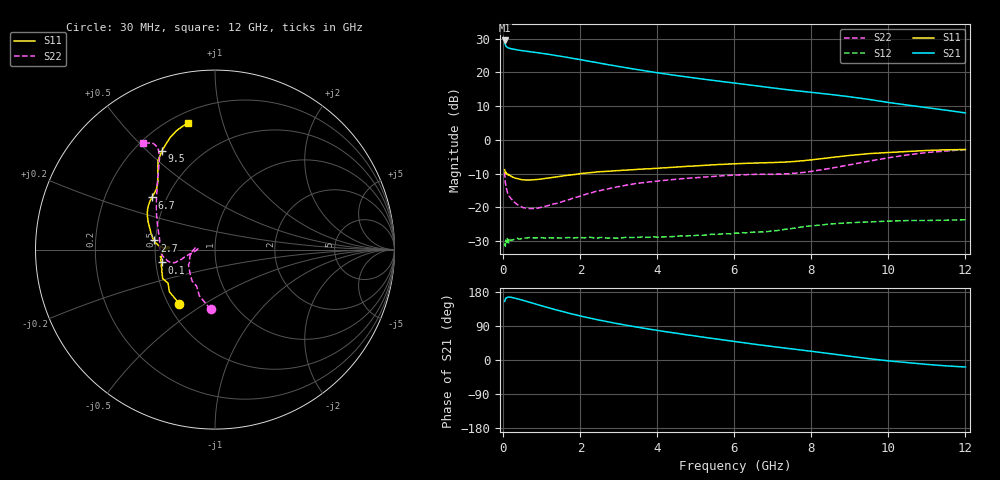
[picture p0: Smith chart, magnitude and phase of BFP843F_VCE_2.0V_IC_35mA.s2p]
! Infineon Technologies  Discrete & RF Semiconductors
! BFP843F
! VCE =  2.0 V,  IC =  35 mA
! Common Emitter S-Parameters:  Aug 2013
# GHz  S  MA  R  50
!  f  S11  S21  S12  S22
! GHz  MAG  ANG  MAG  ANG  MAG  ANG  MAG  ANG
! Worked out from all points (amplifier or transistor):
!   103 points, 30 MHz to 12 GHz, reference 50 ohm
!   highest |S21| = 29.5 dB at 30 MHz (marker M1)
!   |S21| within 3 dB of that: start of sweep to 472.3 MHz
!   unconditionally stable (mu >= 1): 89.07 MHz to 90.62 MHz; 120.9 MHz to end of sweep
!   at 400 MHz: K = 1.03, MAG = 27.0 dB, |S12| = -29.4 dB
!   at 3.7 GHz: K = 1.28, MAG = 21.5 dB, |S12| = -28.9 dB
!   at 12 GHz: K = 1.16, MAG = 13.4 dB, |S12| = -23.7 dB
!   S11 on the Smith chart (normalised r, x): 30 MHz: 0.57, -0.40; 100 MHz: 0.54, -0.08; 2.7 GHz: 0.49, +0.06; 6.7 GHz: 0.41, +0.30; 9.5 GHz: 0.31, +0.56; 12 GHz: 0.27, +0.77
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0.03  0.3613 -123.3  29.69 154.7  0.0296 25.5  0.3331 -94.3
0.04  0.3459 -137.3  27.1 157.1  0.0293 19.1  0.2726 -108.5
0.05  0.3216 -144.5  25.56 160.7  0.0266 28.2  0.228 -116.8
0.07  0.32 -157.9  24.23 163.5  0.0316 11.6  0.1985 -133.8
0.1  0.3056 -166.5  23.41 165.3  0.0346 11.1  0.1703 -150.2
0.13  0.3015 -171.0  23.01 166.0  0.0312 12.1  0.1544 -159.0
0.2  0.2894 -178.0  22.35 165.4  0.0327 7.3  0.134 -172.5
0.9  0.2596 178.7  19.49 145.7  0.0355 4.4  0.0976 178.6
1.2  0.2735 179.1  18.41 137.1  0.0354 4.9  0.1079 -176.4
1.6  0.2956 177.6  16.91 126.2  0.0354 5.6  0.1257 -171.5
2.1  0.3201 175.1  15.05 113.8  0.0353 7.9  0.1536 -168.8
2.7  0.3423 171.4  13.05 101.0  0.0349 8.8  0.1866 -164.9
3.2  0.3567 168.3  11.68 91.5  0.0361 10.5  0.2137 -162.8
3.7  0.3711 164.7  10.49 83.0  0.0359 13.7  0.2339 -162.1
4.1  0.3831 161.9  9.686 76.5  0.0364 15.4  0.2484 -163.0
5.1  0.4147 154.7  8.06 61.6  0.0388 19.9  0.2773 -168.5
6.1  0.4441 146.8  6.833 47.5  0.0415 22.7  0.3023 -177.1
6.7  0.4561 140.4  6.177 39.3  0.0433 25.5  0.309 176.9
8.5  0.5462 125.6  4.704 16.5  0.0567 26.0  0.3787 149.3
9.5  0.6253 118.2  3.971 3.5  0.0608 21.6  0.4838 131.7
10.5  0.6727 111.8  3.27 -6.9  0.0638 19.2  0.5985 121.1
12  0.7194 102.0  2.508 -18.5  0.0656 19.3  0.7175 123.8
